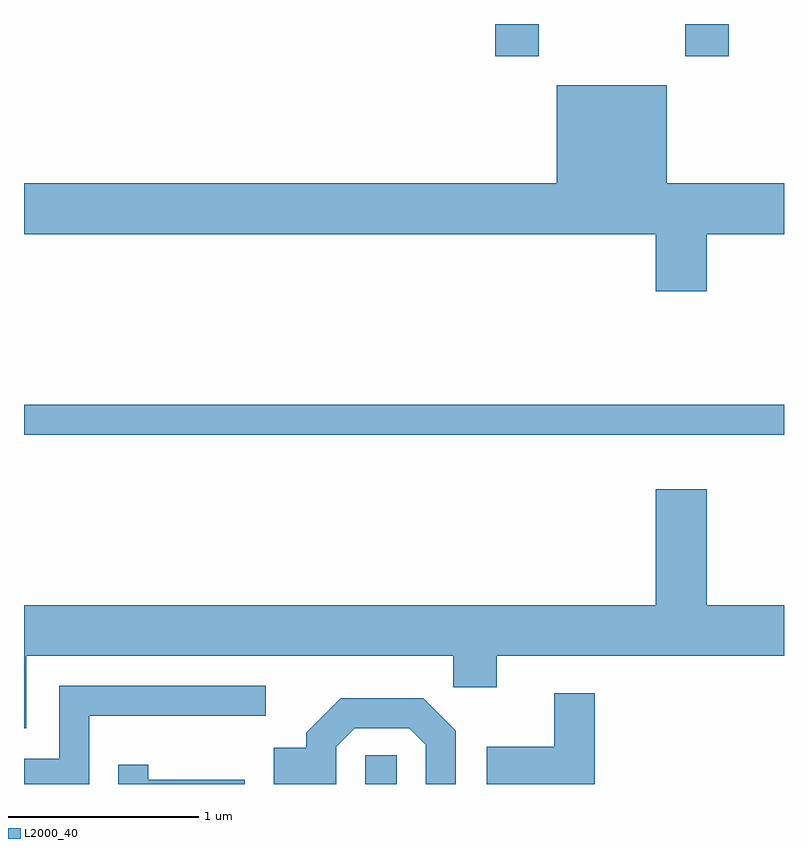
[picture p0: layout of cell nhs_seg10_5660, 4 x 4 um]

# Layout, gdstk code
import gdstk
lib = gdstk.Library(unit=1e-6, precision=1e-09)
def R(c, l, rs):  # rectangles x0, y0, x1, y1
    for r in rs: c.add(gdstk.rectangle(r[:2], r[2:], *l))
def P(c, l, *ps):  # polygons
    for p in ps: c.add(gdstk.Polygon(p, *l))
L2000_40 = (2000, 40)

nhs_seg10_5660 = lib.new_cell('nhs_seg10_5660')
R(nhs_seg10_5660, L2000_40, [(353.406,2166.522,353.574,2166.673), (351.611,2168.361,355.611,2168.519), (354.091,2170.351,354.319,2170.522), (355.091,2170.351,355.319,2170.522)])
P(nhs_seg10_5660, L2000_40, [(355.204,2169.416),(355.611,2169.416),(355.611,2169.684),(354.994,2169.684),(354.994,2170.199),(354.416,2170.199),(354.416,2169.684),(351.611,2169.684),(351.611,2169.416),(354.936,2169.416),(354.936,2169.116),(355.204,2169.116)],
  [(351.624,2167.196),(353.871,2167.196),(353.871,2167.031),(354.099,2167.031),(354.099,2167.196),(355.611,2167.196),(355.611,2167.464),(355.204,2167.464),(355.204,2168.074),(354.936,2168.074),(354.936,2167.464),(351.611,2167.464),(351.611,2166.816),(351.624,2166.816)],
  [(351.954,2166.881),(352.883,2166.881),(352.883,2167.039),(351.796,2167.039),(351.796,2166.654),(351.611,2166.654),(351.611,2166.522),(351.954,2166.522)],
  [(354.614,2166.999),(354.401,2166.999),(354.401,2166.719),(354.046,2166.719),(354.046,2166.522),(354.614,2166.522)],
  [(353.254,2166.719),(353.352,2166.816),(353.639,2166.816),(353.726,2166.729),(353.726,2166.522),(353.884,2166.522),(353.884,2166.802),(353.712,2166.974),(353.279,2166.974),(353.096,2166.792),(353.096,2166.714),(352.926,2166.714),(352.926,2166.522),(353.254,2166.522)],
  [(352.774,2166.544),(352.264,2166.544),(352.264,2166.623),(352.106,2166.623),(352.106,2166.522),(352.774,2166.522)])

lib.write_gds('nhs_seg10_5660.gds')
